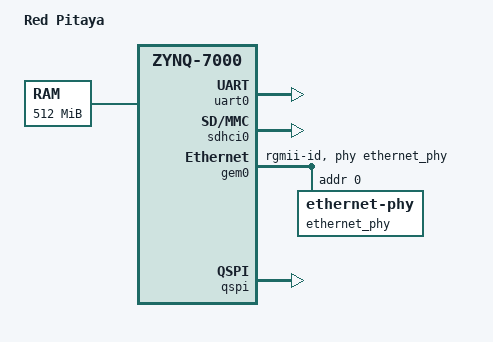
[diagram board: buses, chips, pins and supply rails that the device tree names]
/*
 * @file  zynq-red-pitaya.dts
 * @brief U-Boot device tree for the Red Pitaya 125-14 (Zynq-7010).
 *
 * @details This file describes only the Processing System (PS) peripherals
 *          that U-Boot needs in order to load Linux:
 *
 *            - UART0  : serial console output during boot
 *            - SDIO0  : SD card access to read zImage, DTB and uEnv.txt
 *            - GEM0   : Ethernet (DHCP / TFTP boot optional)
 *            - DDR    : 512 MiB of LPDDR2 starting at 0x00000000
 *
 *          The FPGA fabric (PL) and all Linux-specific peripherals are
 *          intentionally absent.  Those are described in the separate
 *          Linux device trees under dts/.
 *
 * @note  This file must be placed at
 *          <u-boot-xlnx>/arch/arm/dts/zynq-red-pitaya.dts
 *        and registered in
 *          <u-boot-xlnx>/arch/arm/dts/Makefile
 *        before building U-Boot.  The Makefile rule for $(UBOOT_ELF) handles
 *        both steps automatically.
 */

/dts-v1/;
#include "zynq-7000.dtsi"

/ {
	model = "Red Pitaya";
	compatible = "xlnx,zynq-red-pitaya", "xlnx,zynq-7000";

	aliases {
		serial0 = &uart0;
		spi0    = &qspi;
		mmc0    = &sdhci0;
	};

	memory@0 {
		device_type = "memory";
		/* 512 MiB of LPDDR2 */
		reg = <0x0 0x20000000>;
	};

	chosen {
		bootargs = "";
		stdout-path = "serial0:115200n8";
	};
};

&clkc {
	/* PS clock supplied by a 33.333 MHz crystal on the Red Pitaya board */
	ps-clk-frequency = <33333333>;
};

&uart0 {
	/* MIO 14/15 -- the micro-USB serial console connector */
	u-boot,dm-pre-reloc;
	status = "okay";
};

&sdhci0 {
	/* MIO 40-45 -- the full-size SD card slot */
	u-boot,dm-pre-reloc;
	status = "okay";
};

&gem0 {
	/* MIO 16-27 -- the RJ-45 Ethernet port */
	status = "okay";
	phy-mode = "rgmii-id";
	phy-handle = <&ethernet_phy>;

	ethernet_phy: ethernet-phy@0 {
		reg = <0>;
		device_type = "ethernet-phy";
	};
};

&qspi {
	/* Not used for boot, but present on the board */
	status = "okay";
	is-dual = <0>;
	num-cs = <1>;
};
